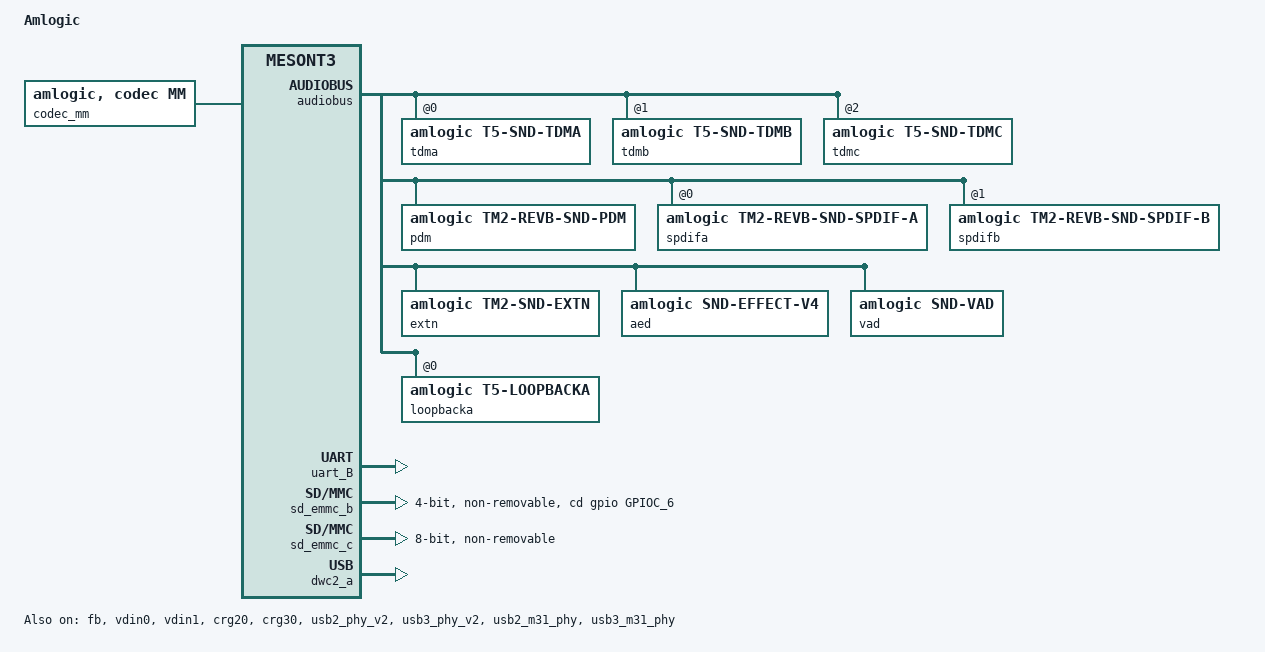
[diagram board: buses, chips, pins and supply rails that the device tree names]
// SPDX-License-Identifier: (GPL-2.0+ OR MIT)
/*
 * Copyright (c) 2019 Amlogic, Inc. All rights reserved.
 */

/dts-v1/;

#include "mesont3.dtsi"
#include "mesont3_pxp-panel.dtsi"

/ {
	model = "Amlogic";
	amlogic-dt-id = "t3_pxp";
	compatible = "amlogic, t3";
	interrupt-parent = <&gic>;
	#address-cells = <2>;
	#size-cells = <2>;

	aliases {
		serial0 = &uart_B;
		tsensor0 = &cpu_tsensor;
		tsensor1 = &nna_tsensor;
		tsensor2 = &vpu_tsensor;
		spi0 = &spifc;
		spi1 = &spicc0;
		spi2 = &spicc1;
		spi3 = &spicc2;
	};

	memory@00000000 {
		device_type = "memory";
		linux,usable-memory = <0x0 0x000000 0x0 0x40000000>;
	};

	reserved-memory {
		#address-cells = <2>;
		#size-cells = <2>;
		ranges;

		secmon_reserved:linux,secmon {
			compatible = "shared-dma-pool";
			reusable;
			size = <0x0 0x400000>;
			alignment = <0x0 0x400000>;
			alloc-ranges = <0x0 0x05000000 0x0 0x400000>;
			clear-map;
		};

		dsp_fw_reserved:linux,dsp_fw {
			compatible = "shared-dma-pool";
			reusable;
			size = <0x0 0x00800000>;
			alignment = <0x0 0x00400000>;
			alloc-ranges = <0x0 0x30000000 0x0 0x00800000>;
		};

		logo_reserved:linux,meson-fb {
			compatible = "shared-dma-pool";
			reusable;
			size = <0x0 0x800000>;
			alignment = <0x0 0x400000>;
			alloc-ranges = <0x0 0x3f800000 0x0 0x800000>;
		};

		ion_cma_reserved:linux,ion-dev {
			compatible = "shared-dma-pool";
			reusable;
			size = <0x0 0x9800000>;
			alignment = <0x0 0x400000>;
		};
		/* secure ion for gpu,advice size is 0x8000000 */
		ion_secure_reserved:linux,ion-secure {
			compatible = "amlogic, ion-secure-mem";
			no-map;
			size = <0x0 0x0000000>;
			alignment = <0x0 0x400000>;
		};
		ion_fb_reserved:linux,ion-fb {
			compatible = "shared-dma-pool";
			reusable;
			/* 1920x1080x4x3 round up 4M align */
			size = <0x0 0x1c00000>;
			alignment = <0x0 0x400000>;
		};

		/*  vdin0 CMA pool */
		/*vdin0_cma_reserved:linux,vdin0_cma {*/
		/*	compatible = "shared-dma-pool";*/
		/*	reusable;*/
			/* up to 1920x1080 yuv422 8bit and 5 buffers
			 * 1920x1080x2x5 = 20 M
			 */
		/*	size = <0x0 0x01400000>;*/
		/*	alignment = <0x0 0x400000>;*/
		/*};*/
		/*  vdin1 CMA pool */
		vdin1_cma_reserved:linux,vdin1_cma {
			compatible = "shared-dma-pool";
			reusable;
			/* up to 1920x1080 yuv422 8bit and 5 buffers
			 * 1920x1080x2x5 = 20 M
			 */
			size = <0x0 0x01400000>;
			alignment = <0x0 0x400000>;
		};

		codec_mm_cma:linux,codec_mm_cma {
			compatible = "shared-dma-pool";
			reusable;
			/* ion_codec_mm max can alloc size 80M*/
			size = <0x0 0x1000000>;
			alignment = <0x0 0x400000>;
			linux,contiguous-region;
		};

		/*di CMA pool */
		di_cma_reserved:linux,di_cma {
			compatible = "shared-dma-pool";
			reusable;
			/* buffer_size = 3621952(yuv422 8bit)
			 *  | 4736064(yuv422 10bit)
			 *  | 4074560(yuv422 10bit full pack mode)
			 * 10x3621952=34.6M(0x23) support 8bit
			 * 10x4736064=45.2M(0x2e) support 12bit
			 * 10x4074560=40M(0x28) support 10bit
			 */
			size = <0x0 0x01000000>;
			//size = <0x0 0x0>;
			alignment = <0x0 0x400000>;
		};
		/* codec shared reserved */
		codec_mm_reserved:linux,codec_mm_reserved {
			compatible = "amlogic, codec-mm-reserved";
			size = <0x0 0x100000>;
			alignment = <0x0 0x100000>;
			//no-map;
		};

		frc_cma_reserved:linux,frc_cma {
			compatible = "shared-dma-pool";
			reusable;
			/* frc:size need 4M alignment
			 * 1080P 16 buffer:88Mhz (0x5800000)
			 * 4k 16 buffer:348Mhz (0x15c00000)
			 * 400Mhz (0x19000000)
			 * 384Mhz (0x18000000)
			 * 368Mhz (0x17000000)
			 */
			size = <0x0 0x15c00000>;
			alignment = <0x0 0x400000>;
			linux,contiguous-region;
			/*alloc-ranges = <0x0 0x0 0x0 0x3f800000>;*/
		};

		/* POST PROCESS MANAGER */
		ppmgr_reserved:linux,ppmgr {
			compatible = "amlogic, ppmgr_memory";
			size = <0x0 0x100000>;
			alignment = <0x0 0x100000>;
		linux,contiguous-region;
		};

		picdec_cma_reserved:linux,picdec {
			compatible = "shared-dma-pool";
			reusable;
			size = <0x0 0x100000>;
			alignment = <0x0 0x100000>;
			linux,contiguous-region;
		};

	};
	codec_mm {
		compatible = "amlogic, codec, mm";
		memory-region = <&codec_mm_cma &codec_mm_reserved>;
		dev_name = "codec_mm";
		status = "okay";
	};

	picdec {
		compatible = "amlogic, picdec";
		memory-region = <&picdec_cma_reserved>;
		dev_name = "picdec";
		status = "okay";
	};
	ppmgr {
		compatible = "amlogic, ppmgr";
		memory-region = <&ppmgr_reserved>;
		status = "okay";
	};
	vdetect {
		compatible = "amlogic, vdetect";
		dev_name = "vdetect";
		status = "disabled";
	};

	amlvideo2_0 {
		compatible = "amlogic, amlvideo2";
		dev_name = "amlvideo2";
		status = "okay";
		amlvideo2_id = <0>;
		cma_mode = <1>;
	};

	amlvideo2_1 {
		compatible = "amlogic, amlvideo2";
		dev_name = "amlvideo2";
		status = "okay";
		amlvideo2_id = <1>;
		cma_mode = <1>;
	};

	multi-di {
		//status = "okay";
		/***************************************************
		 * memory: default is 4
		 *	0:use reserved;
		 *	1:use cma;
		 *	2:use cma as reserved
		 *  4:use codec mem
		 ***************************************************/
		flag_cma = <1>;//t5d unsupport 4K,di 1CH need 42M
		//memory-region = <&di_cma_reserved>;
		/***************************************************
		 * clock-range: <min max>
		 *	default: <334 334>
		 ***************************************************/
		//clock-range = <334 334>;
		/***************************************************
		 * en_4k: t5d not support 4k
		 ***************************************************/
		//en_4k = <0>;
		//keep_dec_vf = <0>;
		//po_fmt = <0>;
		/***************************************************
		 * post_nub: default is 7
		 ***************************************************/
		//post_nub = <7>;
	};

	unifykey {
		compatible = "amlogic,unifykey";
		status = "okay";

		unifykey-num = <24>;
		unifykey-index-0 = <&keysn_0>;
		unifykey-index-1 = <&keysn_1>;
		unifykey-index-2 = <&keysn_2>;
		unifykey-index-3 = <&keysn_3>;
		unifykey-index-4 = <&keysn_4>;
		unifykey-index-5 = <&keysn_5>;
		unifykey-index-6 = <&keysn_6>;
		unifykey-index-7 = <&keysn_7>;
		unifykey-index-8 = <&keysn_8>;
		unifykey-index-9 = <&keysn_9>;
		unifykey-index-10= <&keysn_10>;
		unifykey-index-11 = <&keysn_11>;
		unifykey-index-12 = <&keysn_12>;
		unifykey-index-13 = <&keysn_13>;
		unifykey-index-14 = <&keysn_14>;
		unifykey-index-15 = <&keysn_15>;
		unifykey-index-16 = <&keysn_16>;
		unifykey-index-17 = <&keysn_17>;
		unifykey-index-18 = <&keysn_18>;
		unifykey-index-19 = <&keysn_19>;
		unifykey-index-20 = <&keysn_20>;
		unifykey-index-21 = <&keysn_21>;
		unifykey-index-22 = <&keysn_22>;
		unifykey-index-23 = <&keysn_23>;

		keysn_0: key_0{
			key-name = "usid";
			key-device = "normal";
			key-permit = "read","write","del";
		};
		keysn_1:key_1{
			key-name = "mac";
			key-device  = "normal";
			key-permit = "read","write","del";
		};
		keysn_2:key_2{
			key-name = "hdcp";
			key-device = "secure";
			key-type  = "sha1";
			key-permit = "read","write","del";
		};
		keysn_3:key_3{
			key-name = "secure_boot_set";
			key-device = "efuse";
			key-permit = "write";
		};
		keysn_4:key_4{
			key-name = "mac_bt";
			key-device = "normal";
			key-permit = "read","write","del";
			key-type  = "mac";
		};
		keysn_5:key_5{
			key-name = "mac_wifi";
			key-device = "normal";
			key-permit = "read","write","del";
			key-type  = "mac";
		};
		keysn_6:key_6{
			key-name = "hdcp2_tx";
			key-device = "normal";
			key-permit = "read","write","del";
		};
		keysn_7:key_7{
			key-name = "hdcp2_rx";
			key-device = "normal";
			key-permit = "read","write","del";
		};
		keysn_8:key_8{
			key-name = "widevinekeybox";
			key-device = "secure";
			key-type = "sha1";
			key-permit = "read","write","del";
		};
		keysn_9:key_9{
			key-name = "deviceid";
			key-device = "normal";
			key-permit = "read","write","del";
		};
		keysn_10:key_10{
			key-name = "hdcp22_fw_private";
			key-device = "secure";
			key-permit = "read","write","del";
		};
		keysn_11:key_11{
			key-name = "hdcp22_rx_private";
			key-device = "secure";
			key-permit = "read","write","del";
		};
		keysn_12:key_12{
			key-name = "hdcp22_rx_fw";
			key-device = "normal";
			key-permit = "read","write","del";
		};
		keysn_13:key_13{
			key-name = "hdcp14_rx";
			key-device = "normal";
			key-type  = "sha1";
			key-permit = "read","write","del";
		};
		keysn_14:key_14{
			key-name = "prpubkeybox";// PlayReady
			key-device = "secure";
			key-permit = "read","write","del";
		};
		keysn_15:key_15{
			key-name = "prprivkeybox";// PlayReady
			key-device = "secure";
			key-permit = "read","write","del";
		};
		keysn_16:key_16{
			key-name = "lcd";
			key-device = "normal";
			key-permit = "read","write","del";
		};
		keysn_17:key_17{
			key-name = "lcd_extern";
			key-device = "normal";
			key-permit = "read","write","del";
		};
		keysn_18:key_18{
			key-name = "backlight";
			key-device = "normal";
			key-permit = "read","write","del";
		};
		keysn_19:key_19{
			key-name = "lcd_tcon";
			key-device = "normal";
			key-permit = "read","write","del";
		};
		keysn_20:key_20{
			key-name = "attestationkeybox";// attestation key
			key-device = "secure";
			key-permit = "read","write","del";
		};
		keysn_21:key_21{
			key-name = "lcd_tcon_spi";
			key-device = "normal";
			key-permit = "read","write","del";
		};
		keysn_22:key_22{
			key-name = "attestationdevidbox";// attest dev id box
			key-device = "secure";
			key-permit = "read","write","del";
		};
		keysn_23:key_23{
			key-name = "oemkey";
			key-device = "normal";
			key-permit = "read","write","del";
		};
	}; /* End unifykey */

	/* Audio Related start */
	auge_sound {
		compatible = "amlogic, auge-sound-card";
		aml-audio-card,name = "AML-AUGESOUND";

		/*avout mute gpio*/
		//avout_mute-gpios = <&gpio GPIOH_5 GPIO_ACTIVE_HIGH>;
		//spk_mute-gpios = <&gpio GPIOD_2 GPIO_ACTIVE_LOW>;

		interrupts = <GIC_SPI 51 IRQ_TYPE_EDGE_RISING>;
		interrupt-names = "audio_exception64";

		status = "okay";

		aml-audio-card,dai-link@0 {
			format = "i2s";
			mclk-fs = <256>;
			//continuous-clock;
			//bitclock-inversion;
			//frame-inversion;
			/* master mode */
			bitclock-master = <&tdma>;
			frame-master = <&tdma>;
			/* slave mode */
			/*
			 * bitclock-master = <&tdmacodec>;
			 * frame-master = <&tdmacodec>;
			 */
			/* suffix-name, sync with android audio hal used for */
			suffix-name = "alsaPORT-i2s";
			cpu {
				sound-dai = <&tdma>;
				dai-tdm-slot-tx-mask = <1 1>;
				dai-tdm-slot-rx-mask = <1 1>;
				dai-tdm-slot-num = <2>;
				dai-tdm-slot-width = <32>;
				system-clock-frequency = <12288000>;
			};
			tdmacodec: codec {
				sound-dai = <&dummy_codec>;
				//prefix-names = "AMP", "AMP1";
				//sound-dai = <&ad82584f &ad82584f1 &tl1_codec>;
			};
		};

		aml-audio-card,dai-link@1 {
			format = "i2s";
			mclk-fs = <256>;
			//continuous-clock;
			//bitclock-inversion;
			//frame-inversion;
			/* master mode */
			bitclock-master = <&tdmb>;
			frame-master = <&tdmb>;
			/* slave mode */
			//bitclock-master = <&tdmbcodec>;
			//frame-master = <&tdmbcodec>;
			/* suffix-name, sync with android audio hal used for */
			suffix-name = "alsaPORT-pcm";
			cpu {
				sound-dai = <&tdmb>;
				dai-tdm-slot-tx-mask = <1 1>;
				dai-tdm-slot-rx-mask = <1 1>;
				dai-tdm-slot-num = <2>;
				/*
				 * dai-tdm-slot-tx-mask =
				 *	<1 1 1 1 1 1 1 1>;
				 * dai-tdm-slot-rx-mask =
				 *	<1 1 1 1 1 1 1 1>;
				 * dai-tdm-slot-num = <8>;
				 */
				dai-tdm-slot-width = <32>;
				system-clock-frequency = <12288000>;
			};
			tdmbcodec: codec {
				sound-dai = <&dummy_codec>;
			};
		};

		aml-audio-card,dai-link@2 {
			format = "i2s";
			mclk-fs = <256>;
			//continuous-clock;
			//bitclock-inversion;
			//frame-inversion;
			/* master mode */
			bitclock-master = <&tdmc>;
			frame-master = <&tdmc>;
			/* slave mode */
			//bitclock-master = <&tdmccodec>;
			//frame-master = <&tdmccodec>;
			/* suffix-name, sync with android audio hal used for */
			//suffix-name = "alsaPORT-tdm";
			cpu {
				sound-dai = <&tdmc>;
				dai-tdm-slot-tx-mask = <1 1>;
				dai-tdm-slot-rx-mask = <1 1>;
				dai-tdm-slot-num = <2>;
				dai-tdm-slot-width = <32>;
				system-clock-frequency = <12288000>;
			};
			tdmccodec: codec {
				sound-dai = <&dummy_codec>;
			};
		};

		aml-audio-card,dai-link@3 {
			mclk-fs = <64>;
			/* suffix-name, sync with android audio hal used for */
			suffix-name = "alsaPORT-pdm";
			cpu {
				sound-dai = <&pdm>;
			};
			codec {
				sound-dai = <&dummy_codec>;
			};
		};

		aml-audio-card,dai-link@4 {
			mclk-fs = <128>;
			continuous-clock;
			/* suffix-name, sync with android audio hal used for */
			suffix-name = "alsaPORT-spdif";
			cpu {
				sound-dai = <&spdifa>;
				system-clock-frequency = <6144000>;
			};
			codec {
				sound-dai = <&dummy_codec>;
			};
		};

		aml-audio-card,dai-link@5 {
			mclk-fs = <128>;
			suffix-name = "alsaPORT-spdifb";
			cpu {
				sound-dai = <&spdifb>;
				system-clock-frequency = <6144000>;
			};
			codec {
				sound-dai = <&dummy_codec>;
			};
		};

		aml-audio-card,dai-link@6 {
			mclk-fs = <256>;
			suffix-name = "alsaPORT-tv";
			cpu {
				sound-dai = <&extn>;
				system-clock-frequency = <12288000>;
			};
			codec {
				sound-dai = <&dummy_codec>;
			};
		};
#if 0
		aml-audio-card,dai-link@7 {
			mclk-fs = <256>;
			suffix-name = "alsaPORT-earc";
			cpu {
				sound-dai = <&earc>;
				system-clock-frequency = <12288000>;
			};
			codec {
				sound-dai = <&dummy_codec>;
			};
		};
#endif
		aml-audio-card,dai-link@8 {
			mclk-fs = <256>;
			continuous-clock;
			suffix-name = "alsaPORT-loopback";
			cpu {
				sound-dai = <&loopbacka>;
				system-clock-frequency = <12288000>;
			};
			codec {
				sound-dai = <&dummy_codec>;
			};
		};
	};
	/* Audio Related end */

	aml_frc {
		compatible = "amlogic, t3_frc";
		dev_name = "aml_frc";
		status = "disabled";
		frc_en = <1>;/*1:enabel ;0:disable*/
		frc_hw_pos = <0>;/*0:before postblend; 1:after postblend*/
		interrupts = <GIC_SPI 286 IRQ_TYPE_EDGE_RISING
				GIC_SPI 287 IRQ_TYPE_EDGE_RISING
				GIC_SPI 271 IRQ_TYPE_EDGE_RISING>;
		interrupt-names = "irq_frc_in", "irq_frc_out", "irq_frc_rdma";
		memory-region = <&frc_cma_reserved>;
		clocks = <&clkc CLKID_FRC>, <&clkc CLKID_ME>;
		clock-names = "clk_frc", "clk_me";
		power-domains = <&pwrdm PDID_T3_FRCTOP>, <&pwrdm PDID_T3_FRCME>,
				<&pwrdm PDID_T3_FRCMC>;
		power-domain-names = "frc-top","frc-me","frc-mc";
		reg = <0x0 0xFF050000 0x0 0x30000 /*frc reg*/
		       0x0 0xFE000000 0x0 0x300
		       0x0 0xFF000000 0x0 0x10000>; /*frc clk reg*/
		reg-names = "frc_reg","frc_clk_reg","vpu_reg";
	};
}; /* end of / */

&fb {
	status = "okay";
	display_size_default = <1920 1080 1920 2160 32>;
	mem_size = <0x00800000 0x1980000 0x100000 0x100000>;
	logo_addr = "0x3f800000";
	mem_alloc = <0>;
	pxp_mode = <1>; /** 0:normal mode 1:pxp mode */
};

&audiobus {
	tdma:tdm@0 {
		compatible = "amlogic, t5-snd-tdma";
		#sound-dai-cells = <0>;

		dai-tdm-lane-slot-mask-in = <1 0>;
		dai-tdm-lane-slot-mask-out = <0 1>;
		dai-tdm-clk-sel = <0>;

		clocks = <&clkaudio CLKID_AUDIO_MCLK_A
				&clkaudio CLKID_AUDIO_MCLK_PAD0
				&clkc CLKID_MPLL0
				&clkc CLKID_MPLL1
				&clkaudio CLKID_AUDIO_SPDIFOUT_A>;
		clock-names = "mclk", "mclk_pad", "clk_srcpll",
			"samesource_srcpll", "samesource_clk";

		//pinctrl-names = "tdm_pins";
		//pinctrl-0 = <&tdm_a>;

		/*
		 * 0: tdmout_a;
		 * 1: tdmout_b;
		 * 2: tdmout_c;
		 * 3: spdifout;
		 * 4: spdifout_b;
		 */
		samesource_sel = <3>;

		/* In for ACODEC_ADC */
		tdmin-src-name = "acodec_adc";
		/*enable default mclk(12.288M), before extern codec start*/
		start_clk_enable = <1>;

		/*tdm clk tuning enable*/
		clk_tuning_enable = <1>;
		status = "okay";

		/* !!!For --TV platform-- ONLY */
		Channel_Mask {
			/*i2s has 4 pins, 8channel, mux output*/
			Spdif_samesource_Channel_Mask = "i2s_2/3";
		};
	};

	tdmb:tdm@1 {
		compatible = "amlogic, t5-snd-tdmb";
		#sound-dai-cells = <0>;

		dai-tdm-lane-slot-mask-in = <1 0 0 0>;
		dai-tdm-lane-slot-mask-out = <0 1 0 0>;
		dai-tdm-clk-sel = <1>;

		clocks = <&clkaudio CLKID_AUDIO_MCLK_B
				&clkc CLKID_MPLL1>;
		clock-names = "mclk", "clk_srcpll";

		status = "okay";
	};

	tdmc:tdm@2 {
		compatible = "amlogic, t5-snd-tdmc";
		#sound-dai-cells = <0>;

		dai-tdm-lane-slot-mask-in = <1 0 0 0>;
		dai-tdm-lane-slot-mask-out = <1 0 0 0>;
		dai-tdm-clk-sel = <2>;

		clocks = <&clkaudio CLKID_AUDIO_MCLK_C
				&clkc CLKID_MPLL2>;
		clock-names = "mclk", "clk_srcpll";
		status = "okay";
	};

	pdm:pdm {
		compatible = "amlogic, tm2-revb-snd-pdm";
		#sound-dai-cells = <0>;

		clocks = <&clkaudio CLKID_AUDIO_GATE_PDM
			&clkc CLKID_FCLK_DIV3
			&clkc CLKID_MPLL3
			&clkaudio CLKID_AUDIO_PDMIN0
			&clkaudio CLKID_AUDIO_PDMIN1>;
		clock-names = "gate",
			"sysclk_srcpll",
			"dclk_srcpll",
			"pdm_dclk",
			"pdm_sysclk";

		//pinctrl-names = "pdm_pins";
		//pinctrl-0 = <&pdmin>;

		/* mode 0~4, defalut:1 */
		filter_mode = <1>;

		status = "okay";
	};

	spdifa:spdif@0 {
		compatible = "amlogic, tm2-revb-snd-spdif-a";
		#sound-dai-cells = <0>;

		clocks = <&clkc CLKID_MPLL0
				&clkc CLKID_FCLK_DIV4
				&clkaudio CLKID_AUDIO_GATE_SPDIFIN
				&clkaudio CLKID_AUDIO_GATE_SPDIFOUT_A
				&clkaudio CLKID_AUDIO_SPDIFIN
				&clkaudio CLKID_AUDIO_SPDIFOUT_A>;
		clock-names = "sysclk", "fixed_clk", "gate_spdifin",
				"gate_spdifout", "clk_spdifin", "clk_spdifout";
		interrupts =
				<GIC_SPI 35 IRQ_TYPE_EDGE_RISING>;

		interrupt-names = "irq_spdifin";
		//pinctrl-names = "spdif_pins", "spdif_pins_mute";
		//pinctrl-0 = <&spdifout>;
		//pinctrl-1 = <&spdifout_a_mute>;

		samesource_sel = <4>;

		/*spdif clk tuning enable*/
		clk_tuning_enable = <1>;
		status = "okay";
	};

	spdifb:spdif@1 {
		compatible = "amlogic, tm2-revb-snd-spdif-b";
		#sound-dai-cells = <0>;

		clocks = <&clkc CLKID_MPLL2 /*CLKID_HIFI_PLL*/
				&clkaudio CLKID_AUDIO_GATE_SPDIFOUT_B
				&clkaudio CLKID_AUDIO_SPDIFOUT_B>;
		clock-names = "sysclk",
				"gate_spdifout", "clk_spdifout";

		status = "okay";
	};

	extn:extn {
		compatible = "amlogic, tm2-snd-extn";
		#sound-dai-cells = <0>;

		interrupts =
				<GIC_SPI 42 IRQ_TYPE_EDGE_RISING>;
		interrupt-names = "irq_frhdmirx";

		status = "okay";
	};

	aed:effect {
		compatible = "amlogic, snd-effect-v4";
		#sound-dai-cells = <0>;

		clocks = <&clkaudio CLKID_AUDIO_GATE_EQDRC
			&clkc CLKID_FCLK_DIV5
			&clkaudio CLKID_AUDIO_EQDRC>;
		clock-names = "gate", "srcpll", "eqdrc";

		/*
		 * 0:tdmout_a
		 * 1:tdmout_b
		 * 2:tdmout_c
		 * 3:spdifout
		 * 4:spdifout_b
		 */
		eqdrc_module = <0>;
		/* max 0xf, each bit for one lane, usually one lane */
		lane_mask = <0x1>;
		/* max 0xff, each bit for one channel */
		channel_mask = <0xff>;

		status = "okay";
	};
#if 0
	asrca:resample@0 {
		compatible = "amlogic, t5-resample-a";
		clocks = <&clkc CLKID_MPLL1
			&clkaudio CLKID_AUDIO_MCLK_B
			&clkaudio CLKID_AUDIO_RESAMPLE_A>;
		clock-names = "resample_pll", "resample_src", "resample_clk";

		/*same with toddr_src
		 *	TDMIN_A,    0
		 *	TDMIN_B,    1
		 *	TDMIN_C,    2
		 *	SPDIFIN,    3
		 *	PDMIN,      4
		 *	FRATV,      5
		 *	TDMIN_LB,   6
		 *	LOOPBACK_A, 7
		 *	FRHDMIRX,   8
		 *	LOOPBACK_B, 9
		 *	SPDIFIN_LB, 10
		 *	EARC_RX,    11
		 */
		resample_module = <8>;

		status = "okay";
	};

	asrcb:resample@1 {
		compatible = "amlogic, t5-resample-b";
		clocks = <&clkc CLKID_MPLL3
			&clkaudio CLKID_AUDIO_MCLK_F
			&clkaudio CLKID_AUDIO_RESAMPLE_B>;
		clock-names = "resample_pll", "resample_src", "resample_clk";

		/*this resample is only used for loopback_A.*/

		status = "okay";
	};
#endif
	vad:vad {
		compatible = "amlogic, snd-vad";
		#sound-dai-cells = <0>;

		clocks = <&clkaudio CLKID_AUDIO_GATE_TOVAD
			&clkc CLKID_FCLK_DIV5
			&clkaudio CLKID_AUDIO_VAD>;
		clock-names = "gate", "pll", "clk";

		interrupts = <GIC_SPI 39 IRQ_TYPE_EDGE_RISING
				GIC_SPI 44 IRQ_TYPE_EDGE_RISING>;
		interrupt-names = "irq_wakeup", "irq_frame_sync";

		/*
		 * Data src sel:
		 * 0: tdmin_a;
		 * 1: tdmin_b;
		 * 2: tdmin_c;
		 * 3: spdifin;
		 * 4: pdmin;
		 * 5: loopback_b;
		 * 6: tdmin_lb;
		 * 7: loopback_a;
		 */
		src = <4>;

		/*
		 * deal with hot word in user space or kernel space
		 * 0: in user space
		 * 1: in kernel space
		 */
		level = <1>;

		status = "okay";
	};

	loopbacka:loopback@0 {
		compatible = "amlogic, t5-loopbacka";
		#sound-dai-cells = <0>;

		clocks = <&clkaudio CLKID_AUDIO_GATE_PDM
			&clkc CLKID_FCLK_DIV3
			&clkc CLKID_MPLL3
			&clkaudio CLKID_AUDIO_PDMIN0
			&clkaudio CLKID_AUDIO_PDMIN1
			&clkc CLKID_MPLL0
			&clkaudio CLKID_AUDIO_MCLK_A>;
		clock-names = "pdm_gate",
			"pdm_sysclk_srcpll",
			"pdm_dclk_srcpll",
			"pdm_dclk",
			"pdm_sysclk",
			"tdminlb_mpll",
			"tdminlb_mclk";

		/* datain src
		 * 0: tdmin_a;
		 * 1: tdmin_b;
		 * 2: tdmin_c;
		 * 3: spdifin;
		 * 4: pdmin;
		 */
		datain_src = <4>;
		datain_chnum = <0>;
		datain_chmask = <0xf>;
		/* config which data pin for loopback */
		datain-lane-mask-in = <1 0 1 0>;

		/* calc mclk for datalb */
		mclk-fs = <256>;

		/* tdmin_lb src
		 * 0: tdmoutA
		 * 1: tdmoutB
		 * 2: tdmoutC
		 * 3: PAD_TDMINA_DIN*, refer to core pinmux
		 * 4: PAD_TDMINB_DIN*, refer to core pinmux
		 * 5: PAD_TDMINC_DIN*, refer to core pinmux
		 * 6: PAD_TDMINA_D*, oe, refer to core pinmux
		 * 7: PAD_TDMINB_D*, oe, refer to core pinmux
		 */
		/* if tdmin_lb >= 3, use external loopback */
		datalb_src = <0>;
		datalb_chnum = <2>;
		datalb_chmask = <0x3>;
		/* config which data pin as loopback */
		datalb-lane-mask-in = <1 0 0 0>;

		status = "okay";
	};

	loopbackb:loopback@1 {
		compatible = "amlogic, t5-loopbackb";
		#sound-dai-cells = <0>;

		clocks = <&clkaudio CLKID_AUDIO_GATE_PDM
			&clkc CLKID_FCLK_DIV3
			&clkc CLKID_MPLL3
			&clkaudio CLKID_AUDIO_PDMIN0
			&clkaudio CLKID_AUDIO_PDMIN1
			&clkc CLKID_MPLL0
			&clkaudio CLKID_AUDIO_MCLK_A>;
		clock-names = "pdm_gate",
			"pdm_sysclk_srcpll",
			"pdm_dclk_srcpll",
			"pdm_dclk",
			"pdm_sysclk",
			"tdminlb_mpll",
			"tdminlb_mclk";

		/* calc mclk for datain_lb */
		mclk-fs = <256>;

		/* datain src
		 * 0: tdmin_a;
		 * 1: tdmin_b;
		 * 2: tdmin_c;
		 * 3: spdifin;
		 * 4: pdmin;
		 */
		datain_src = <4>;
		datain_chnum = <4>;
		datain_chmask = <0xf>;
		/* config which data pin for loopback */
		datain-lane-mask-in = <1 0 1 0>;

		/* tdmin_lb src
		 * 0: tdmoutA
		 * 1: tdmoutB
		 * 2: tdmoutC
		 * 3: PAD_TDMINA_DIN*, refer to core pinmux
		 * 4: PAD_TDMINB_DIN*, refer to core pinmux
		 * 5: PAD_TDMINC_DIN*, refer to core pinmux
		 * 6: PAD_TDMINA_D*, oe, refer to core pinmux
		 * 7: PAD_TDMINB_D*, oe, refer to core pinmux
		 */
		/* if tdmin_lb >= 3, use external loopback */
		datalb_src = <1>;
		datalb_chnum = <2>;
		datalb_chmask = <0x3>;
		/* config which data pin as loopback */
		datalb-lane-mask-in = <1 0 0 0>;

		status = "disabled";
	};
}; /* end of audiobus */

&earc {
	status = "disabled";
};

&audio_data {
	status = "disabled";
};

&uart_B {
	status = "okay";
};

/*if you want to use vdin just modify status to "ok"*/
&vdin0 {
	/*memory-region = <&vdin0_cma_reserved>;*/
	status = "okay";
	/*MByte, if 10bit disable: 64M(YUV422),
	 *if 10bit enable: 64*1.5 = 96M(YUV422)
	 *if support 4K2K-YUV444-10bit-WR:3840*2160*4*4 ~= 128M
	 *if support 4K2K-YUV422-10bit-wr:3840*2160*3*4 ~= 96M
	 *if support 4K2K-YUV422-8BIT-WR:3840*2160*2*4 ~= 64M
	 *if support 1080p-YUV422-8BIT-WR:1920*1080*2*4 ~= 16M
	 * onebuffer:
	 * worst case:(4096*2160*3 + 2M(afbce issue)) = 27.5M
	 * dw:960x540x3 = 1.5M
	 * total size:(27.5+1.5)x buffernumber
	 */
	cma_size = <300>;
	frame_buff_num = <10>;
};

&vdin1 {
	memory-region = <&vdin1_cma_reserved>;
	status = "okay";
};

/* SDIO */
//&sd_emmc_a {
//	status = "disabled";
//	pinctrl-0 = <&sdio_pins>;
//	pinctrl-1 = <&sdio_clk_gate_pins>;
//	pinctrl-names = "default", "clk-gate";
//	#address-cells = <1>;
//	#size-cells = <0>;
//
//	bus-width = <4>;
//	cap-sd-highspeed;
//	sd-uhs-sdr50;
//	sd_uhs-sdr104;
//	max-frequency = <200000000>;
//
//	non-removable;
//	disable-wp;
//
//	//vmmc-supply = <&vddao_3v3>;
//	//vqmmc-supply = <&vddio_ao1v8>;
//
//	brcmf: wifi@1 {
//		reg = <1>;
//		compatible = "brcm,bcm4329-fmac";
//	};
//};

/* SD card */
&sd_emmc_b {
	status = "okay";
	pinctrl-0 = <&sd_all_pins>;
	pinctrl-1 = <&sd_1bit_pins>;
	pinctrl-2 = <&sd_clk_gate_pins>;
	pinctrl-names = "sd_default",
			"sd_1bit_pins",
			"clk-gate";
	bus-width = <4>;
	cap-sd-highspeed;
//	sd-uhs-sdr12;
//	sd-uhs-sdr25;
//	sd-uhs-sdr50;
//	sd_uhs-sdr104;
	max-frequency = <200000000>;

	non-removable;
	disable-wp;
	amlogic,dram-access-quirk;

	cd-gpios = <&gpio GPIOC_6 GPIO_ACTIVE_HIGH>;
	//dat1-gpios = <&gpio GPIOC_1 GPIO_ACTIVE_HIGH>;
	//vmmc-supply = <&vddao_3v3>;
	//vqmmc-supply = <&emmc_1v8>;
};

&sd_emmc_c {
	status = "okay";
	pinctrl-0 = <&emmc_pins>, <&emmc_ds_pins>;
	pinctrl-1 = <&emmc_clk_gate_pins>;
	pinctrl-names = "default", "clk-gate";

	bus-width = <8>;
	cap-mmc-highspeed;
	//mmc-ddr-1_8v;
	//mmc-hs200-1_8v;
	//mmc-hs400-1_8v;
	max-frequency = <200000000>;
	non-removable;
	disable-wp;
	amlogic,dram-access-quirk;

//	mmc-pwrseq = <&emmc_pwrseq>;
//	vmmc-supply = <&vddao_3v3>;
//	vqmmc-supply = <&vddao_1v8>;
};

&gpu{
	tbl =  <&dvfs500_cfg
		&dvfs500_cfg
		&dvfs500_cfg
		&dvfs500_cfg
		&dvfs500_cfg
		&dvfs500_cfg>;
};

&crg20 {
	status = "okay";
};

&crg30 {
	status = "okay";
};

&usb2_phy_v2 {
	status = "okay";
	portnum = <3>;
};

&usb3_phy_v2 {
	status = "okay";
	portnum = <0>;
	otg = <0>;
};

&usb2_m31_phy {
	status = "okay";
};

&usb3_m31_phy {
	status = "okay";
	portnum = <1>;
};

&dwc2_a {
	status = "okay";
	/** 0: normal, 1: otg+dwc3 host only, 2: otg+dwc3 device only*/
	controller-type = <1>;
};

&pcie {
	reset-gpio = <&gpio GPIOH_22 GPIO_ACTIVE_HIGH>;
	status = "disable";
};

&spicc0 {	//for TCON
	status = "disabled";
	pinctrl-names = "default";
	pinctrl-0 = <&spicc0_pins_h>;
	cs-gpios = <&gpio GPIOH_8 GPIO_ACTIVE_HIGH>;
};

&spicc1 {	//for UWB/LocalDimm
	status = "disabled";
	pinctrl-names = "default";
	pinctrl-0 = <&spicc1_pins>;
	cs-gpios = <&gpio GPIOH_24 GPIO_ACTIVE_HIGH>;
};

&spicc2 {
	status = "disabled";
	pinctrl-names = "default";
	pinctrl-0 = <&spicc2_pins>;
	cs-gpios = <&gpio GPIOC_3 GPIO_ACTIVE_HIGH>;
};
